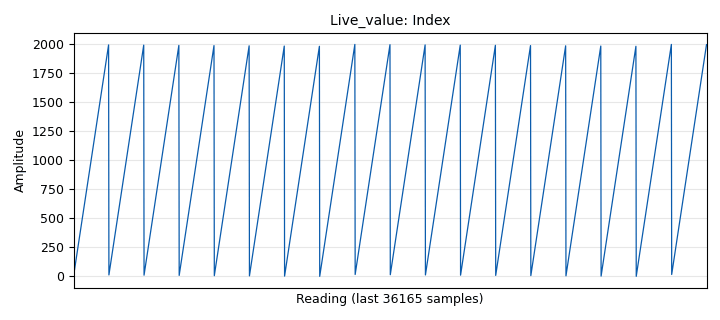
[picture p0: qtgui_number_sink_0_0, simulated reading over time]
options:
  parameters:
    author: JI
    comment: |-
      This graph uses grc-blocks
      to iterate a variable over the graphs runtime.

      This might later be used for file saving & loading
    generate_options: qt_gui
    id: IteratingVariableOverTime
    output_language: python
    title: IteratingVariableOverTime
  states: {}

blocks:
- name: amp_probe_function
  id: variable_function_probe
  parameters:
    block_id: signProbe
    comment: |-
      See this video for basic probeing tutorial:
      https://www.youtube.com/watch?v=LiAcNm9Rru8
    function_name: level
    poll_rate: samp_rate
    value: '0'
  states: {}
- name: index_var
  id: variable
  parameters:
    value: amp_probe_function
  states: {}
- name: index_var_modulo
  id: variable
  parameters:
    value: int(amp_probe_function/modulo_base)
  states: {}
- name: index_var_qtgui_label
  id: variable_qtgui_label
  parameters:
    gui_hint: 1,0
    label: 'Acquired_index_var:'
    type: real
    value: index_var
  states: {}
- name: index_var_qtgui_label_0
  id: variable_qtgui_label
  parameters:
    comment: |-
      Displays a int-value that resulst by deviding 
      -> can be use to create a second index
    gui_hint: 2,0
    label: Index Var_modulo
    type: real
    value: index_var_modulo
  states: {}
- name: maximum_index
  id: variable
  parameters:
    comment: |-
      defines the maximum number for our iterator
      (could also be read from file / by using "len()")
    value: '2000'
  states: {}
- name: modulo_base
  id: variable
  parameters:
    value: '1000'
  states: {}
- name: pickle_mat
  id: variable
  parameters:
    value: np.load('./01_channelModels/python_util/vector_from_mat/vector.npy')[index_var]
  states: {}
- name: samp_rate
  id: variable
  parameters:
    value: int(32000/1)
  states: {}
- name: variable_0
  id: variable
  parameters:
    comment: this represents a real world channel over time
    value: '[np.arange(maximum_index)+50000, np.arange(maximum_index)+50000]'
  states: {state: disabled}
- name: vector_value_qtgui_label
  id: variable_qtgui_label
  parameters:
    comment: Given the index, we select a single variable of an array
    gui_hint: '[3,0]'
    label: Index Var
    type: int
    value: variable_0[index_var_modulo][index_var]
  states: {state: disabled}
- name: blocks_multiply_const_vxx_0
  id: blocks_multiply_const_vxx
  parameters:
    const: pickle_mat
    type: complex
    vlen: '64'
  states: {}
- name: blocks_throttle_1
  id: blocks_throttle
  parameters:
    samples_per_second: samp_rate
    type: short
  states: {}
- name: blocks_vector_source_x_0
  id: blocks_vector_source_x
  parameters:
    repeat: 'True'
    type: complex
    vector: np.ones(len(pickle_mat))
    vlen: '64'
  states: {}
- name: blocks_vector_to_stream_0
  id: blocks_vector_to_stream
  parameters:
    num_items: '64'
    type: complex
  states: {}
- name: import_0
  id: import
  parameters:
    imports: import numpy as np
  states: {}
- name: index_vector
  id: blocks_vector_source_x
  parameters:
    comment: Create a vector from 0 to "maximum_index"
    repeat: 'True'
    type: short
    vector: np.arange(maximum_index)
  states: {}
- name: info
  id: note
  parameters:
    comment: Postprocessing of acquired index
  states: {}
- name: info_
  id: note
  parameters:
    comment: Creating an index by using a vecrot as basis
  states: {}
- name: qtgui_number_sink_0_0
  id: qtgui_number_sink
  parameters:
    graph_type: qtgui.NUM_GRAPH_NONE
    gui_hint: 0,0
    name: 'Live_value: Index'
    type: short
    update_time: '0.00'
  states: {}
- name: qtgui_time_sink_x_1
  id: qtgui_time_sink_x
  parameters:
    size: '1024'
    srate: samp_rate
    type: complex
  states: {}
- name: signProbe
  id: blocks_probe_signal_x
  parameters:
    type: short
  states: {}

connections:
- [blocks_multiply_const_vxx_0, '0', blocks_vector_to_stream_0, '0']
- [blocks_throttle_1, '0', qtgui_number_sink_0_0, '0']
- [blocks_throttle_1, '0', signProbe, '0']
- [blocks_vector_source_x_0, '0', blocks_multiply_const_vxx_0, '0']
- [blocks_vector_to_stream_0, '0', qtgui_time_sink_x_1, '0']
- [index_vector, '0', blocks_throttle_1, '0']

metadata:
  file_format: 1
